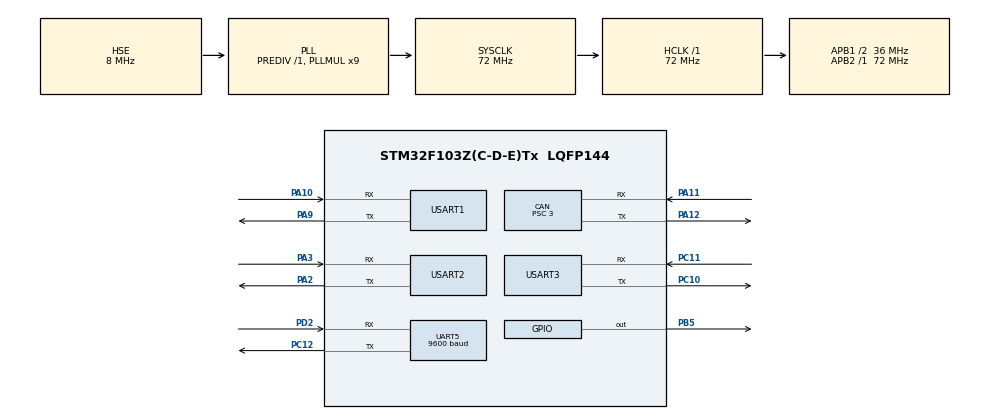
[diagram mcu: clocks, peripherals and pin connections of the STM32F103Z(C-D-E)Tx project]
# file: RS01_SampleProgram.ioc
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CAN.BS1=CAN_BS1_6TQ
CAN.BS2=CAN_BS2_5TQ
CAN.CalculateBaudRate=999999
CAN.CalculateTimeBit=1000
CAN.CalculateTimeQuantum=83.33333333333334
CAN.Prescaler=3
Dma.Request0=USART1_RX
Dma.Request1=USART1_TX
Dma.Request2=USART3_RX
Dma.Request3=USART3_TX
Dma.Request4=USART2_RX
Dma.Request5=USART2_TX
Dma.USART1_RX.0.Direction=DMA_PERIPH_TO_MEMORY
Dma.USART1_RX.0.Instance=DMA1_Channel5
Dma.USART1_RX.0.MemDataAlignment=DMA_MDATAALIGN_BYTE
Dma.USART1_RX.0.MemInc=DMA_MINC_ENABLE
Dma.USART1_RX.0.Mode=DMA_CIRCULAR
Dma.USART1_RX.0.PeriphDataAlignment=DMA_PDATAALIGN_BYTE
Dma.USART1_RX.0.PeriphInc=DMA_PINC_DISABLE
Dma.USART1_RX.0.Priority=DMA_PRIORITY_LOW
Dma.USART1_TX.1.Direction=DMA_MEMORY_TO_PERIPH
Dma.USART1_TX.1.Instance=DMA1_Channel4
Dma.USART1_TX.1.MemDataAlignment=DMA_MDATAALIGN_BYTE
Dma.USART1_TX.1.MemInc=DMA_MINC_ENABLE
Dma.USART1_TX.1.Mode=DMA_NORMAL
Dma.USART1_TX.1.PeriphDataAlignment=DMA_PDATAALIGN_BYTE
Dma.USART1_TX.1.PeriphInc=DMA_PINC_DISABLE
Dma.USART1_TX.1.Priority=DMA_PRIORITY_LOW
Dma.USART2_RX.4.Direction=DMA_PERIPH_TO_MEMORY
Dma.USART2_RX.4.Instance=DMA1_Channel6
Dma.USART2_RX.4.MemDataAlignment=DMA_MDATAALIGN_BYTE
Dma.USART2_RX.4.MemInc=DMA_MINC_ENABLE
Dma.USART2_RX.4.Mode=DMA_CIRCULAR
Dma.USART2_RX.4.PeriphDataAlignment=DMA_PDATAALIGN_BYTE
Dma.USART2_RX.4.PeriphInc=DMA_PINC_DISABLE
Dma.USART2_RX.4.Priority=DMA_PRIORITY_LOW
Dma.USART2_TX.5.Direction=DMA_MEMORY_TO_PERIPH
Dma.USART2_TX.5.Instance=DMA1_Channel7
Dma.USART2_TX.5.MemDataAlignment=DMA_MDATAALIGN_BYTE
Dma.USART2_TX.5.MemInc=DMA_MINC_ENABLE
Dma.USART2_TX.5.Mode=DMA_NORMAL
Dma.USART2_TX.5.PeriphDataAlignment=DMA_PDATAALIGN_BYTE
Dma.USART2_TX.5.PeriphInc=DMA_PINC_DISABLE
Dma.USART2_TX.5.Priority=DMA_PRIORITY_LOW
Dma.USART3_RX.2.Direction=DMA_PERIPH_TO_MEMORY
Dma.USART3_RX.2.Instance=DMA1_Channel3
Dma.USART3_RX.2.MemDataAlignment=DMA_MDATAALIGN_BYTE
Dma.USART3_RX.2.MemInc=DMA_MINC_ENABLE
Dma.USART3_RX.2.Mode=DMA_CIRCULAR
Dma.USART3_RX.2.PeriphDataAlignment=DMA_PDATAALIGN_BYTE
Dma.USART3_RX.2.PeriphInc=DMA_PINC_DISABLE
Dma.USART3_RX.2.Priority=DMA_PRIORITY_LOW
Dma.USART3_TX.3.Direction=DMA_MEMORY_TO_PERIPH
Dma.USART3_TX.3.Instance=DMA1_Channel2
Dma.USART3_TX.3.MemDataAlignment=DMA_MDATAALIGN_BYTE
Dma.USART3_TX.3.MemInc=DMA_MINC_ENABLE
Dma.USART3_TX.3.Mode=DMA_NORMAL
Dma.USART3_TX.3.PeriphDataAlignment=DMA_PDATAALIGN_BYTE
Dma.USART3_TX.3.PeriphInc=DMA_PINC_DISABLE
Dma.USART3_TX.3.Priority=DMA_PRIORITY_LOW
Mcu.Family=STM32F1
Mcu.Name=STM32F103Z(C-D-E)Tx
Mcu.Package=LQFP144
NVIC.DMA1_Channel2_IRQn=true\:0\:0\:false\:false\:true\:false\:true\:true
NVIC.DMA1_Channel3_IRQn=true\:0\:0\:false\:false\:true\:false\:true\:true
NVIC.DMA1_Channel4_IRQn=true\:0\:0\:false\:false\:true\:false\:true\:true
NVIC.DMA1_Channel5_IRQn=true\:0\:0\:false\:false\:true\:false\:true\:true
NVIC.DMA1_Channel6_IRQn=true\:0\:0\:false\:false\:true\:false\:true\:true
NVIC.DMA1_Channel7_IRQn=true\:0\:0\:false\:false\:true\:false\:true\:true
NVIC.PriorityGroup=NVIC_PRIORITYGROUP_4
NVIC.UART5_IRQn=true\:0\:0\:false\:false\:true\:true\:true\:true
NVIC.USART1_IRQn=true\:0\:0\:false\:false\:true\:true\:true\:true
NVIC.USART2_IRQn=true\:0\:0\:false\:false\:true\:true\:true\:true
NVIC.USART3_IRQn=true\:0\:0\:false\:false\:true\:true\:true\:true
NVIC.USB_LP_CAN1_RX0_IRQn=true\:0\:0\:false\:false\:true\:true\:true\:true
OSC_IN.Mode=HSE-External-Oscillator
OSC_IN.Signal=RCC_OSC_IN
OSC_OUT.Mode=HSE-External-Oscillator
OSC_OUT.Signal=RCC_OSC_OUT
PA10.Mode=Asynchronous
PA10.Signal=USART1_RX
PA11.Mode=CAN_Activate
PA11.Signal=CAN_RX
PA12.Mode=CAN_Activate
PA12.Signal=CAN_TX
PA13.Mode=Serial_Wire
PA13.Signal=SYS_JTMS-SWDIO
PA14.Mode=Serial_Wire
PA14.Signal=SYS_JTCK-SWCLK
PA2.Mode=Asynchronous
PA2.Signal=USART2_TX
PA3.Mode=Asynchronous
PA3.Signal=USART2_RX
PA9.Mode=Asynchronous
PA9.Signal=USART1_TX
PB5.PinState=GPIO_PIN_SET
PB5.Signal=GPIO_Output
PC10.Mode=Asynchronous
PC10.Signal=USART3_TX
PC11.Mode=Asynchronous
PC11.Signal=USART3_RX
PC12.Mode=Asynchronous
PC12.Signal=UART5_TX
PD2.Mode=Asynchronous
PD2.Signal=UART5_RX
ProjectManager.HeapSize=0x200
ProjectManager.StackSize=0x400
ProjectManager.TargetToolchain=MDK-ARM V5.32
RCC.AHBFreq_Value=72000000
RCC.APB1CLKDivider=RCC_HCLK_DIV2
RCC.APB1Freq_Value=36000000
RCC.APB1TimFreq_Value=72000000
RCC.APB2Freq_Value=72000000
RCC.APB2TimFreq_Value=72000000
RCC.HCLKFreq_Value=72000000
RCC.PLLMUL=RCC_PLL_MUL9
RCC.PLLSourceVirtual=RCC_PLLSOURCE_HSE
RCC.SYSCLKFreq_VALUE=72000000
RCC.SYSCLKSource=RCC_SYSCLKSOURCE_PLLCLK
RCC.USBFreq_Value=72000000
UART5.BaudRate=9600
UART5.VirtualMode=Asynchronous
USART1.VirtualMode=VM_ASYNC
USART2.VirtualMode=VM_ASYNC
USART3.VirtualMode=VM_ASYNC
board=custom

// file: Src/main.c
/* USER CODE BEGIN Header */
/**
  ******************************************************************************
  * @file           : main.c
  * @brief          : Main program body
  ******************************************************************************
  * @attention
  *
  * <h2><center>&copy; Copyright (c) 2025 STMicroelectronics.
  * All rights reserved.</center></h2>
  *
  * This software component is licensed by ST under BSD 3-Clause license,
  * the "License"; You may not use this file except in compliance with the
  * License. You may obtain a copy of the License at:
  *                        opensource.org/licenses/BSD-3-Clause
  *
  ******************************************************************************
  */
/* USER CODE END Header */
#include "main.h"
#include "can.h"
#include "dma.h"
#include "usart.h"
#include "gpio.h"

/* USER CODE BEGIN Includes */
#include <math.h>
#include <string.h>
#include "debugc.h"
#include "RobStride.h"
#include "imu.h"
#include "torque_control.h"
extern "C" {
#include "protocol.h"
#include "jetson_comm.h"
#include "adc_comm.h"
}

/* USER CODE END Includes */

void SystemClock_Config(void);
/* USER CODE BEGIN PFP */
CAN_FilterTypeDef CAN_FilterStrue;
CAN_TxHeaderTypeDef CAN_TxHeaderStrue;
CAN_RxHeaderTypeDef CAN_RxHeaderStrue;
uint8_t pRxdata[8], pTxdata[8];
RobStride_Motor RobStride_01(0x01, false);

uint8_t mode = 0;
/* USER CODE END PFP */

/* USER CODE BEGIN 0 */
CommDataStruct g_stm_tx_data;
/* USER CODE END 0 */

int main(void)
{

  /* MCU Configuration--------------------------------------------------------*/

  /* Reset of all peripherals, Initializes the Flash interface and the Systick. */
  HAL_Init();

  /* Configure the system clock */
  SystemClock_Config();

  /* Initialize all configured peripherals */
  MX_GPIO_Init();
  MX_DMA_Init();
  MX_CAN_Init();
  MX_USART1_UART_Init();
  MX_USART3_UART_Init();
  MX_USART2_UART_Init();
  MX_UART5_Init();
  /* USER CODE BEGIN 2 */
  CAN_FilterStrue.FilterBank = 0;
  CAN_FilterStrue.FilterMode = CAN_FILTERMODE_IDMASK;
  CAN_FilterStrue.FilterScale = CAN_FILTERSCALE_16BIT;
  CAN_FilterStrue.FilterIdHigh = 0;
  CAN_FilterStrue.FilterIdLow = 0;
  CAN_FilterStrue.FilterActivation = ENABLE;
  CAN_FilterStrue.FilterFIFOAssignment = CAN_RX_FIFO0;
  HAL_CAN_ConfigFilter(&hcan, &CAN_FilterStrue);
  HAL_CAN_Start(&hcan);
  HAL_CAN_ActivateNotification(&hcan, CAN_IT_RX_FIFO0_MSG_PENDING);
  /*初始化开始*/
  DEBUGC_UartInit();
  JETSON_Init();
  ADC_Init();
  IMU_Init();
  TorqueControl_Init();
  /*初始化结束*/
  /* USER CODE END 2 */

  /* Infinite loop */
  /* USER CODE BEGIN WHILE */
  while (1)
  {
    /*接收串口数据开始*/
    JETSON_PollReceiver();
    ADC_PollReceiver();
    if (g_new_jetson_data_flag)
    {
        g_new_jetson_data_flag = 0; // 清除标志位
    }
    /*接收串口数据开始结束*/
    // 填充要发送的数据
     g_stm_tx_data.chf[0]=RobStride_01.Pos_Info.Angle;
     g_stm_tx_data.chf[1]=RobStride_01.Pos_Info.Speed;
     g_stm_tx_data.chf[2]=RobStride_01.Pos_Info.Torque;
     g_stm_tx_data.chf[3]=ADC_GetTorque();
     g_stm_tx_data.chf[4]=RobStride_01.Pos_Info.Temp;
     g_stm_tx_data.chf[5]=ADC_GetResilience();
    // 发送数据给上位机
    JETSON_SendData(&g_stm_tx_data);

    /*调试信息打印*/
    usart_printf("%.2f,%.2f,%.2f,%.2f,%.2f\r\n",
                      g_jetson_rx_data.chf[0],
                      g_stm_tx_data.chf[0],
                      g_stm_tx_data.chf[2],
                      g_stm_tx_data.chf[3],
                      g_stm_tx_data.chf[5]);
//    usart_printf("%.2f,%d,%d\r\n",
//                      g_jetson_rx_data.chf[0],
//                      g_jetson_rx_data.chb[0],
//                      g_jetson_rx_data.chb[1]);
    //ADC打印
    //  usart_printf("%.2f,%.2f\r\n",
    //                   g_stm_tx_data.chf[3],
    //                   g_stm_tx_data.chf[5]);
    // IMU信息打印
    // usart_printf("IMU Angle: Roll=%.2f, Pitch=%.2f, Yaw=%.2f\r\n",
    //               g_sAngle.fAngle[0],
    //               g_sAngle.fAngle[1],
    //               g_sAngle.fAngle[2]);
    /*调试信息打印*/

    switch(mode)
    {
        // ===== 普通模式接口 =====
       case 0: // 使能（普通模式）
            RobStride_01.Enable_Motor();
            HAL_Delay(10); // 增加一个短暂延时，确保驱动器准备好
            break;
        case 1: // 失能（普通模式）
            RobStride_01.Disenable_Motor(1);
            break;
        case 2: // 运控模式
            HAL_Delay(5);//Torque, Angle, Speed, Kp, Kd
//          RobStride_01.RobStride_Motor_move_control(0, Debug_Param().pos_targetAngle, 0, Debug_Param().pos_kp, Debug_Param().pos_kd);
            RobStride_01.RobStride_Motor_move_control(0,g_jetson_rx_data.chf[0],0,14,1.5);
            break;
        case 3: // PP位置模式
            RobStride_01.RobStride_Motor_Pos_control(0.5, 2);//g_jetson_rx_data.chf[0]);
            HAL_Delay(5);
            break;
        case 4:	//CSP位置模式
            RobStride_01.RobStride_Motor_CSP_control(2.0, 2.0);
            HAL_Delay(5);
            break;
        case 5: // 速度模式
            RobStride_01.RobStride_Motor_Speed_control(3.5, 5.0);
            HAL_Delay(5);
            break;
        case 6: // 电流模式
            HAL_Delay(5);
            RobStride_01.RobStride_Motor_current_control(1.2);
            break;
        case 7: // 设置机械零点
            RobStride_01.Set_ZeroPos();
            break;
        case 8: // 读取参数
            RobStride_01.Get_RobStride_Motor_parameter(0x7014);
            break;
        case 9: // 设置参数
            RobStride_01.Set_RobStride_Motor_parameter(0x7014, 0.35f, Set_parameter);
            break;
        case 10: // 协议切换（如切MIT协议/Canopen/私有协议）
            RobStride_01.RobStride_Motor_MotorModeSet(0x02); // 0x02=MIT
            break;
        // ===== MIT模式接口（只能用MIT专用函数！） =====
        case 11: // MIT 使能
            RobStride_01.RobStride_Motor_MIT_Enable();
            break;
        case 12: // MIT 失能
            RobStride_01.RobStride_Motor_MIT_Disable();
            break;
        case 13: // MIT 综合控制
            RobStride_01.RobStride_Motor_MIT_SetMotorType(0x01);
            RobStride_01.RobStride_Motor_MIT_Enable();
            HAL_Delay(5);
            RobStride_01.RobStride_Motor_MIT_Control(0, 0, 0, 0, -1.0f);
            break;
        case 14: // MIT 位置控制
            RobStride_01.RobStride_Motor_MIT_SetMotorType(0x01);
            RobStride_01.RobStride_Motor_MIT_Enable();
            HAL_Delay(5);
            RobStride_01.RobStride_Motor_MIT_PositionControl(1.57f, 3.0f);
            break;
        case 15: // MIT 速度控制
            RobStride_01.RobStride_Motor_MIT_SetMotorType(0x02);
            RobStride_01.RobStride_Motor_MIT_Enable();
            HAL_Delay(5);
            RobStride_01.RobStride_Motor_MIT_SpeedControl(4.5f, 3.2f);
            break;
        case 16: // MIT 零点设置（运行前需保证 MIT_Type != positionControl）
            RobStride_01.RobStride_Motor_MIT_SetZeroPos();
            break;
        case 17: // MIT 清错
            RobStride_01.RobStride_Motor_MIT_ClearOrCheckError(0x01);
            break;
        case 18: // MIT 设置电机运行模式
            RobStride_01.RobStride_Motor_MIT_SetMotorType(0x01);
            break;
        case 19: // MIT 设置电机ID
            RobStride_01.RobStride_Motor_MIT_SetMotorId(0x05);
            break;
        case 20: //主动上报
            RobStride_01.RobStride_Motor_ProactiveEscalationSet(0x00);
            break;
        case 21: // 波特率修改
            RobStride_01.RobStride_Motor_BaudRateChange(0x01);
            break;
        case 22: // MIT 参数保存
            RobStride_01.RobStride_Motor_MotorDataSave();
            break;
        case 23: // MIT 协议切换（如切MIT协议/Canopen/私有协议）
            RobStride_01.RobStride_Motor_MIT_MotorModeSet(0x00);
            break;
        default:
            break;
    }
    mode = 2;
    if (g_jetson_rx_data.chb[0] == 0)
    {
        mode = 1;
    }
    else
    {
        mode = 2;
    }
	HAL_Delay(50);
    /* USER CODE END WHILE */

  }
}

void SystemClock_Config(void)
{
  RCC_OscInitTypeDef RCC_OscInitStruct = {0};
  RCC_ClkInitTypeDef RCC_ClkInitStruct = {0};

  /** Initializes the RCC Oscillators according to the specified parameters
  * in the RCC_OscInitTypeDef structure.
  */
  RCC_OscInitStruct.OscillatorType = RCC_OSCILLATORTYPE_HSE;
  RCC_OscInitStruct.HSEState = RCC_HSE_ON;
  RCC_OscInitStruct.HSEPredivValue = RCC_HSE_PREDIV_DIV1;
  RCC_OscInitStruct.HSIState = RCC_HSI_ON;
  RCC_OscInitStruct.PLL.PLLState = RCC_PLL_ON;
  RCC_OscInitStruct.PLL.PLLSource = RCC_PLLSOURCE_HSE;
  RCC_OscInitStruct.PLL.PLLMUL = RCC_PLL_MUL9;
  if (HAL_RCC_OscConfig(&RCC_OscInitStruct) != HAL_OK)
  {
    Error_Handler();
  }

  /** Initializes the CPU, AHB and APB buses clocks
  */
  RCC_ClkInitStruct.ClockType = RCC_CLOCKTYPE_HCLK|RCC_CLOCKTYPE_SYSCLK
                              |RCC_CLOCKTYPE_PCLK1|RCC_CLOCKTYPE_PCLK2;
  RCC_ClkInitStruct.SYSCLKSource = RCC_SYSCLKSOURCE_PLLCLK;
  RCC_ClkInitStruct.AHBCLKDivider = RCC_SYSCLK_DIV1;
  RCC_ClkInitStruct.APB1CLKDivider = RCC_HCLK_DIV2;
  RCC_ClkInitStruct.APB2CLKDivider = RCC_HCLK_DIV1;

  if (HAL_RCC_ClockConfig(&RCC_ClkInitStruct, FLASH_LATENCY_2) != HAL_OK)
  {
    Error_Handler();
  }
}

/* USER CODE BEGIN 4 */
CAN_RxHeaderTypeDef RXHeader;
uint8_t RxData[8];
void HAL_CAN_RxFifo0MsgPendingCallback(CAN_HandleTypeDef *hcan)
{

	if(HAL_CAN_GetRxMessage(hcan,CAN_RX_FIFO0,&RXHeader,RxData) == HAL_OK)
	{
		if (RXHeader.IDE == CAN_ID_EXT)
		{
				RobStride_01.RobStride_Motor_Analysis(RxData, RXHeader.ExtId);
		}
		else
		{
				RobStride_01.RobStride_Motor_Analysis(RxData, RXHeader.StdId);
		}
	}
}
/* USER CODE END 4 */

void Error_Handler(void)
{
  __disable_irq();
  while (1)
  {
  }
}
